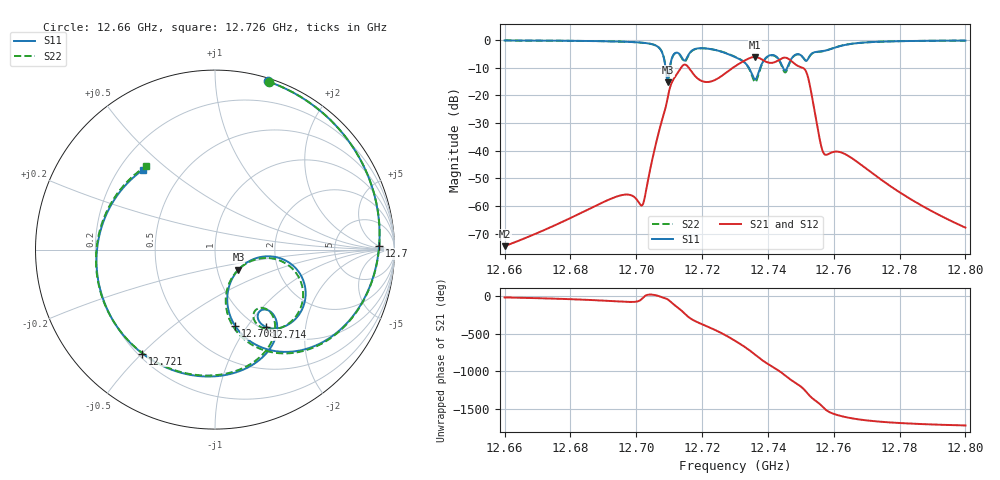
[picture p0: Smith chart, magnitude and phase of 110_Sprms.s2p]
! TOUCHSTONE file generated by CST MICROWAVE STUDIO
! Date and time: Wed Jul 31 16:19:30 2024
! Project name: WaveGuide_BPF-Ver4.1_U-shape_Ku_T3_C4_CWA_2.cst
! Parameters = {cavity_h=16; cavity_l0=10; cavity_l1=15.1946; cavity_l2=16.8192; cavity_l3=17.095; cavity_l4=17.2893; cavity_l5=17.1041; cavity_l6=17.5981; cavity_r=2.5; cavity_screw_l=0.5; cavity_screw_r=1.5; cavity_w=8; iris_h00=0; iris_h01=8.8196; iris_h112=0; iris_h12=5.5942; iris_h211=3.6579; i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
! Header version: 2018
! Port assignment regex: !\s*Touchstone port\s*([0-9]+)\s*=\s*(CST MWS port|CST DS port)\s*([0-9]+|Zmin|Zmax)\s*\(\"(.*)\"\)(\s*mode\s*([0-9]+))?.*
! Touchstone port assignment:
! Touchstone port 1 = CST MWS port 1 ("")
! Touchstone port 2 = CST MWS port 2 ("")
# GHz S RI R 50
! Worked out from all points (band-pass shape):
!   5001 points, 12.66 GHz to 12.8 GHz, reference 50 ohm
!   highest |S21| = -6.12 dB at 12.736 GHz (marker M1); lowest = -74.6 dB at 12.66 GHz (marker M2)
!   |S21| within 3 dB of the highest: 12.71424 GHz to 12.71524 GHz (995.3 kHz wide, 0.00783 % of centre); 12.73052 GHz to 12.74872 GHz (18.2 MHz wide, 0.143 % of centre)
!   lowest |S11| = -15.3 dB at 12.71 GHz (marker M3), VSWR 1.42, Z = 63.2 - j14.5 ohm
!   |S11| at or under -10 dB: 12.7089 GHz to 12.71019 GHz (1.292 MHz wide, 0.0102 % of centre); 12.7342 GHz to 12.73767 GHz (3.469 MHz wide, 0.0272 % of centre); 12.74456 GHz to 12.74589 GHz (1.329 MHz wide, 0.0104 % of centre)
!   |S22| runs from -15.3 to -0.2 dB; largest |S21 - S12| = 1e-09
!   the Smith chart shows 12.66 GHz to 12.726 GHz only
!   S11 on the Smith chart (normalised r, x): 12.66 GHz: 0.03, +1.36; 12.7 GHz: 21, +5; 12.708 GHz: 0.83, -0.88; 12.714 GHz: 1.05, -1.23; 12.721 GHz: 0.22, -0.50; 12.726 GHz: 0.30, +0.41
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12.66  0.2933 0.9374  0.000174 -6.77e-05  0.000174 -6.77e-05  0.2987 0.9357
12.68335  0.6833 0.6802  0.000483 -0.000577  0.000483 -0.000577  0.688 0.6753
12.69954  0.9144 0.0203  0.000254 -0.0014  0.000254 -0.0014  0.9142 0.00992
12.70214  0.8731 -0.1774  0.00105 -0.000396  0.00105 -0.000396  0.8704 -0.1885
12.70668  0.4981 -0.5563  0.0198 -0.000333  0.0198 -0.000333  0.491 -0.565
12.7085  0.1136 -0.4269  0.042 -0.0238  0.042 -0.0238  0.1077 -0.4384
12.70953  0.1309 -0.1115  0.0618 -0.0651  0.0618 -0.0651  0.1187 -0.1242
12.71356  0.2832 -0.4305  -0.3114 0.0493  -0.3114 0.0493  0.2571 -0.4321
12.72101  -0.4044 -0.579  0.1413 -0.1024  0.1413 -0.1024  -0.4268 -0.5591
12.7265  -0.4006 0.4449  -0.2012 -0.124  -0.2012 -0.124  -0.3823 0.466
12.73  0.3495 0.3467  -0.1906 0.2747  -0.1906 0.2747  0.3583 0.3472
12.73599  0.0659 -0.1834  0.2784 -0.4088  0.2784 -0.4088  0.0635 -0.1618
12.73927  0.0067 -0.4692  -0.3912 -0.1194  -0.3912 -0.1194  0.0388 -0.459
12.74322  -0.4253 -0.1625  -0.000139 0.431  -0.000139 0.431  -0.4128 -0.1672
12.74568  -0.261 -0.1437  0.4684 0.0767  0.4684 0.0767  -0.2343 -0.1496
12.7482  -0.5318 -0.0635  0.1324 -0.343  0.1324 -0.343  -0.5208 -0.0914
12.75335  -0.2809 0.4949  0.00382 0.0979  0.00382 0.0979  -0.276 0.4934
12.75646  0.4685 0.416  0.00967 -0.00418  0.00967 -0.00418  0.4806 0.3953
12.7589  0.6629 -0.1629  -0.0024 -0.00866  -0.0024 -0.00866  0.6559 -0.1927
12.76458  -0.0276 -0.8384  -0.00791 -0.000498  -0.00791 -0.000498  -0.0508 -0.8402
12.77668  -0.837 -0.4348  -0.00131 0.00201  -0.00131 0.00201  -0.8426 -0.4252
12.8  -0.9576 0.2001  5.81e-05 0.000401  5.81e-05 0.000401  -0.9563 0.2067
